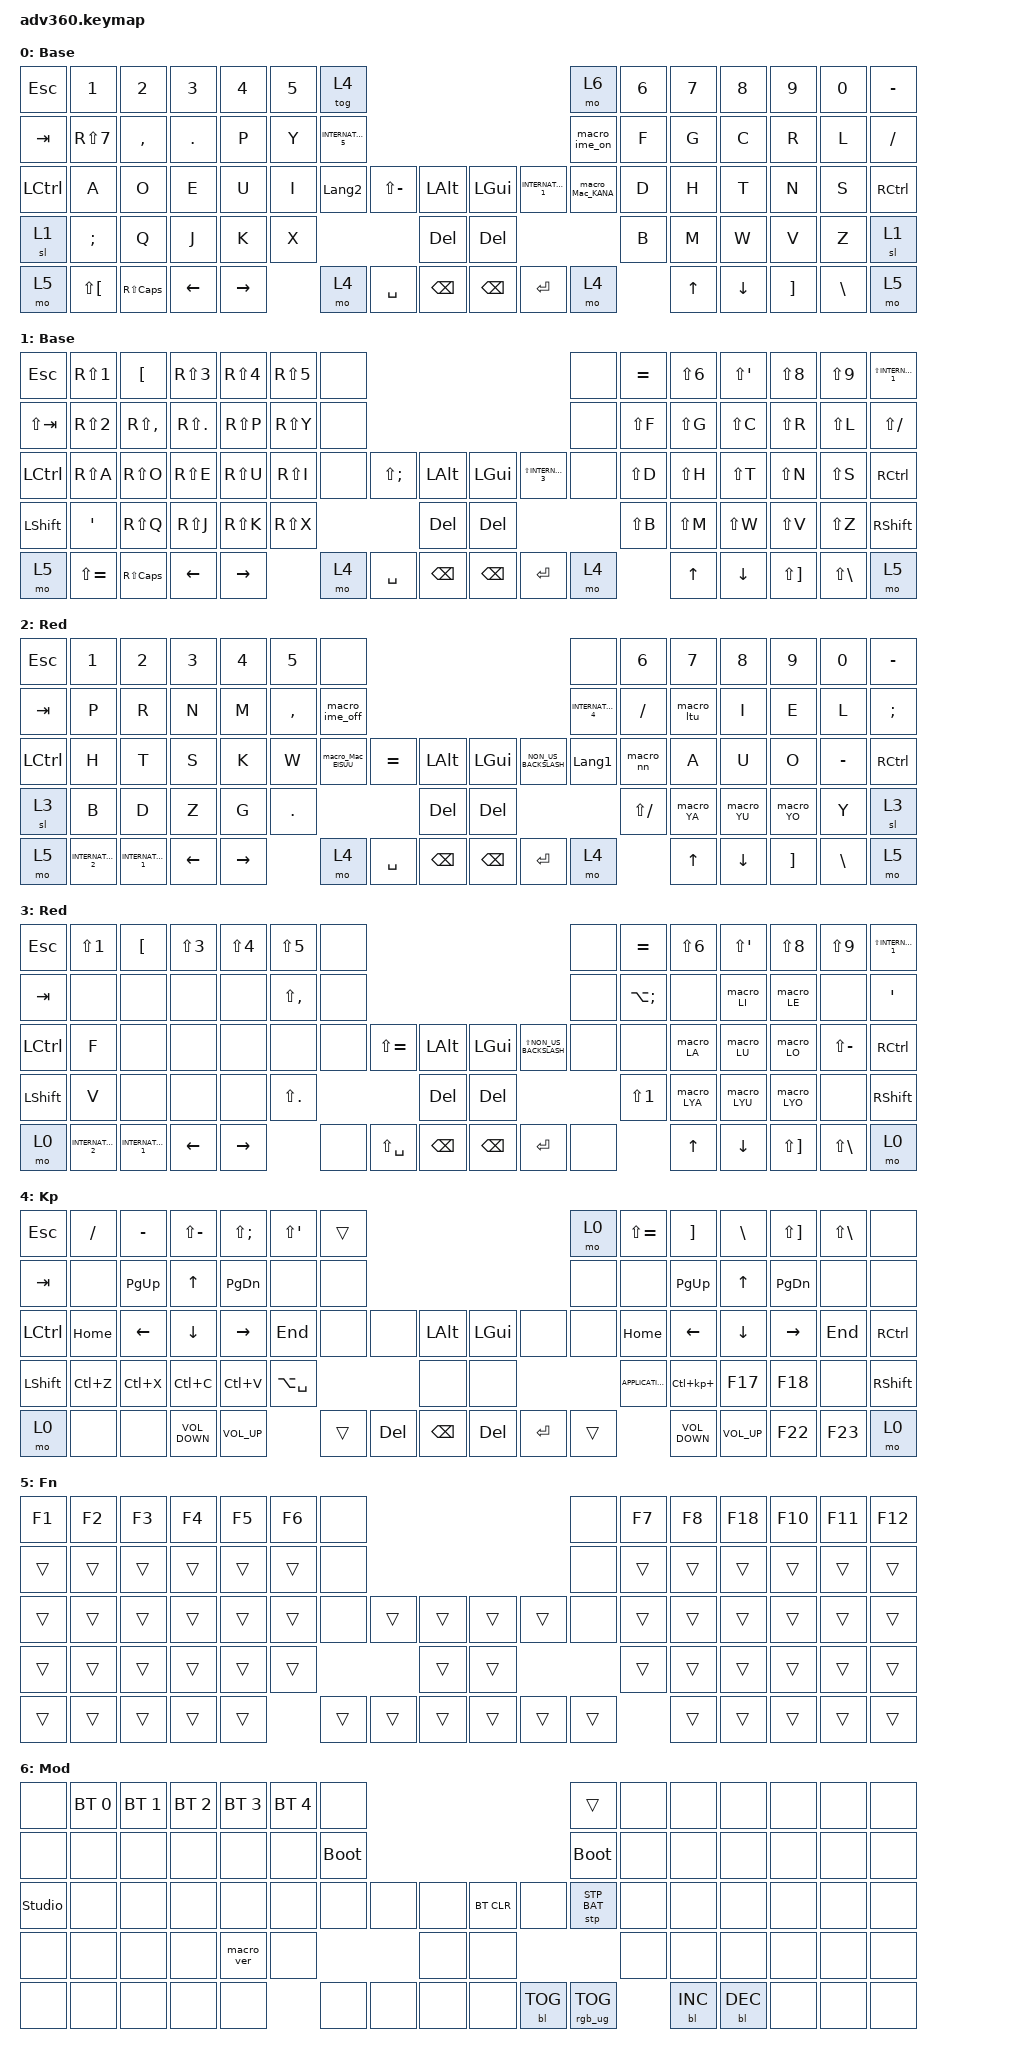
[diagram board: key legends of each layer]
#include <dt-bindings/zmk/stp.h>
#include <behaviors.dtsi>
#include <dt-bindings/zmk/backlight.h>
#include <dt-bindings/zmk/bt.h>
#include <dt-bindings/zmk/keys.h>
#include <dt-bindings/zmk/rgb.h>

/ {
    behaviors {
        #include "macros.dtsi"
      #include "version.dtsi"

        hm: homerow_mods {
            compatible = "zmk,behavior-hold-tap";
            label = "HOMEROW_MODS";
            #binding-cells = <2>;
            tapping-term-ms = <200>;
            quick_tap_ms = <175>;
            flavor = "tap-preferred";
            bindings = <&kp>, <&kp>;
        };

        ja_n2: ja_number_2 {
            compatible = "zmk,behavior-mod-morph";
            #binding-cells = <0>;
            bindings = <&kp N2>, <&kp LBKT>;

            mods = <(MOD_LSFT|MOD_RSFT)>;
        };
    };

    macros {
        macro_ltu: macro_ltu {
            compatible = "zmk,behavior-macro";
            #binding-cells = <0>;
            bindings = <&kp L &kp T &kp U>;
            label = "MACRO_LTU";
            wait-ms = <0>;
        };

        macro_nn: macro_nn {
            compatible = "zmk,behavior-macro";
            #binding-cells = <0>;
            bindings = <&kp N &kp N>;
            label = "MACRO_NN";
        };

        macro_ime_on: macro_ime_on {
            compatible = "zmk,behavior-macro";
            #binding-cells = <0>;
            bindings = <&kp INTERNATIONAL_4 &to 2>;
            label = "MACRO_IME_ON";
        };

        macro_ime_off: macro_ime_off {
            compatible = "zmk,behavior-macro";
            #binding-cells = <0>;
            bindings = <&kp INTERNATIONAL_5 &to 0>;
            label = "MACRO_IME_OFF";
        };

        macro_SANTEN: macro_SANTEN {
            compatible = "zmk,behavior-macro";
            #binding-cells = <0>;
            bindings = <&kp FSLH &kp FSLH &kp FSLH>;
            label = "MACRO_SANTEN";
        };

        macro_YA: macro_YA {
            compatible = "zmk,behavior-macro";
            #binding-cells = <0>;
            bindings = <&kp Y &kp A>;
            label = "MACRO_YA";
            wait-ms = <0>;
        };

        macro_YU: macro_YU {
            compatible = "zmk,behavior-macro";
            #binding-cells = <0>;
            bindings = <&kp Y &kp U>;
            label = "MACRO_YU";
            wait-ms = <0>;
        };

        macro_YO: macro_YO {
            compatible = "zmk,behavior-macro";
            #binding-cells = <0>;
            bindings = <&kp Y &kp O>;
            label = "MACRO_YO";
            wait-ms = <0>;
        };

        macro_LA: macro_LA {
            compatible = "zmk,behavior-macro";
            #binding-cells = <0>;
            bindings = <&kp L &kp A>;
            label = "MACRO_LA";
        };

        macro_LI: macro_LI {
            compatible = "zmk,behavior-macro";
            #binding-cells = <0>;
            bindings = <&kp L &kp I>;
            label = "MACRO_LI";
        };

        macro_LU: macro_LU {
            compatible = "zmk,behavior-macro";
            #binding-cells = <0>;
            bindings = <&kp L &kp U>;
            label = "MACRO_LU";
        };

        macro_LE: macro_LE {
            compatible = "zmk,behavior-macro";
            #binding-cells = <0>;
            bindings = <&kp L &kp E>;
            label = "MACRO_LE";
        };

        macro_LO: macro_LO {
            compatible = "zmk,behavior-macro";
            #binding-cells = <0>;
            bindings = <&kp L &kp O>;
            label = "MACRO_LO";
        };

        macro_LYA: macro_LYA {
            compatible = "zmk,behavior-macro";
            #binding-cells = <0>;
            bindings = <&kp L &kp Y &kp A>;
            label = "MACRO_LYA";
        };

        macro_LYU: macro_LYU {
            compatible = "zmk,behavior-macro";
            #binding-cells = <0>;
            bindings = <&kp L &kp Y &kp U>;
            label = "MACRO_LYU";
        };

        macro_LYO: macro_LYO {
            compatible = "zmk,behavior-macro";
            #binding-cells = <0>;
            bindings = <&kp L &kp Y &kp O>;
            label = "MACRO_LYO";
        };

        macro_Mac_KANA: macro_Mac_KANA {
            compatible = "zmk,behavior-macro";
            #binding-cells = <0>;
            bindings = <&kp LANGUAGE_1 &to 2>;
            label = "MACRO_MAC_KANA";
        };

        macro_Mac_EISUU: macro_Mac_EISUU {
            compatible = "zmk,behavior-macro";
            #binding-cells = <0>;
            bindings = <&kp LANGUAGE_2 &to 0>;
            label = "MACRO_MAC_EISUU";
        };

        macro_SHIFT: macro_SHIFT {
            compatible = "zmk,behavior-macro";
            #binding-cells = <0>;
            bindings = <&kp LEFT_SHIFT &sl 1>;
            label = "MACRO_SHIFT";
        };
    };

    keymap {
        compatible = "zmk,keymap";

        default_layer {
            display-name = "Base";
            bindings = <
&kp ESC           &kp N1                &kp N2        &kp N3      &kp N4     &kp N5  &tog 4                                                                                     &mo 6            &kp N6  &kp N7  &kp N8    &kp N9             &kp N0         &kp MINUS
&kp TAB           &kp RS(N7)            &kp COMMA     &kp PERIOD  &kp P      &kp Y   &kp INTERNATIONAL_5                                                                        &macro_ime_on    &kp F   &kp G   &kp C     &kp R              &kp L          &kp SLASH
&kp LEFT_CONTROL  &kp A                 &kp O         &kp E       &kp U      &kp I   &kp LANGUAGE_2       &kp LS(MINUS)  &kp LALT           &kp LGUI       &kp INTERNATIONAL_1  &macro_Mac_KANA  &kp D   &kp H   &kp T     &kp N              &kp S          &kp RIGHT_CONTROL
&sl 1             &kp SEMICOLON         &kp Q         &kp J       &kp K      &kp X                                       &kp DELETE         &kp DELETE                                           &kp B   &kp M   &kp W     &kp V              &kp Z          &sl 1
&mo 5             &kp LS(LEFT_BRACKET)  &kp RS(CAPS)  &kp LEFT    &kp RIGHT          &mo 4                &kp SPACE      &kp BACKSPACE      &kp BACKSPACE  &kp ENTER            &mo 4                    &kp UP  &kp DOWN  &kp RIGHT_BRACKET  &kp BACKSLASH  &mo 5
            >;
        };

        default_shift_layer {
            display-name = "Base";
            bindings = <
&kp ESC           &kp RS(N1)        &kp LEFT_BRACKET  &kp RS(N3)      &kp RS(N4)  &kp RS(N5)  &none                                                                                &none  &kp EQUAL  &kp LS(NUMBER_6)  &kp LS(SINGLE_QUOTE)  &kp LS(N8)             &kp LS(N9)         &kp LS(INTERNATIONAL_1)
&kp LS(TAB)       &kp RS(N2)        &kp RS(COMMA)     &kp RS(PERIOD)  &kp RS(P)   &kp RS(Y)   &none                                                                                &none  &kp LS(F)  &kp LS(G)         &kp LS(C)             &kp LS(R)              &kp LS(L)          &kp LS(SLASH)
&kp LEFT_CONTROL  &kp RS(A)         &kp RS(O)         &kp RS(E)       &kp RS(U)   &kp RS(I)   &none  &kp LS(SEMICOLON)  &kp LALT           &kp LGUI       &kp LS(INTERNATIONAL_3)  &none  &kp LS(D)  &kp LS(H)         &kp LS(T)             &kp LS(N)              &kp LS(S)          &kp RIGHT_CONTROL
&kp LSHFT         &kp SINGLE_QUOTE  &kp RS(Q)         &kp RS(J)       &kp RS(K)   &kp RS(X)                             &kp DELETE         &kp DELETE                                     &kp LS(B)  &kp LS(M)         &kp LS(W)             &kp LS(V)              &kp LS(Z)          &kp RSHFT
&mo 5             &kp LS(EQUAL)     &kp RS(CAPS)      &kp LEFT        &kp RIGHT               &mo 4  &kp SPACE          &kp BACKSPACE      &kp BACKSPACE  &kp ENTER                &mo 4             &kp UP            &kp DOWN              &kp LS(RIGHT_BRACKET)  &kp LS(BACKSLASH)  &mo 5
            >;
        };

        Japanese {
            display-name = "Red";
            bindings = <
&kp ESC           &kp N1               &kp N2               &kp N3    &kp N4     &kp N5      &none                                                                                &none                &kp N6         &kp N7      &kp N8     &kp N9             &kp N0         &kp MINUS
&kp TAB           &kp P                &kp R                &kp N     &kp M      &kp COMMA   &macro_ime_off                                                                       &kp INTERNATIONAL_4  &kp SLASH      &macro_ltu  &kp I      &kp E              &kp L          &kp SEMICOLON
&kp LEFT_CONTROL  &kp H                &kp T                &kp S     &kp K      &kp W       &macro_Mac_EISUU  &kp EQUAL  &kp LALT           &kp LGUI       &kp NON_US_BACKSLASH  &kp LANGUAGE_1       &macro_nn      &kp A       &kp U      &kp O              &kp MINUS      &kp RIGHT_CONTROL
&sl 3             &kp B                &kp D                &kp Z     &kp G      &kp PERIOD                               &kp DELETE         &kp DELETE                                                &kp LS(SLASH)  &macro_YA   &macro_YU  &macro_YO          &kp Y          &sl 3
&mo 5             &kp INTERNATIONAL_2  &kp INTERNATIONAL_1  &kp LEFT  &kp RIGHT              &mo 4             &kp SPACE  &kp BACKSPACE      &kp BACKSPACE  &kp ENTER             &mo 4                               &kp UP      &kp DOWN   &kp RIGHT_BRACKET  &kp BACKSLASH  &mo 5
            >;
        };

        JAPANESE_Shift {
            display-name = "Red";
            bindings = <
&kp ESC           &kp LS(N1)           &kp LEFT_BRACKET     &kp LS(N3)  &kp LS(N4)  &kp LS(N5)      &none                                                                             &none  &kp EQUAL          &kp LS(NUMBER_6)  &kp LS(APOSTROPHE)  &kp LS(NUMBER_8)       &kp LS(N9)         &kp LS(INTERNATIONAL_1)
&kp TAB           &none                &none                &none       &none       &kp LS(COMMA)   &none                                                                             &none  &kp LA(SEMICOLON)  &none             &macro_LI           &macro_LE              &none              &kp APOS
&kp LEFT_CONTROL  &kp F                &none                &none       &none       &none           &none  &kp LS(EQUAL)  &kp LALT           &kp LGUI       &kp LS(NON_US_BACKSLASH)  &none  &none              &macro_LA         &macro_LU           &macro_LO              &kp LS(MINUS)      &kp RIGHT_CONTROL
&kp LSHFT         &kp V                &none                &none       &none       &kp LS(PERIOD)                        &kp DELETE         &kp DELETE                                      &kp LS(NUMBER_1)   &macro_LYA        &macro_LYU          &macro_LYO             &none              &kp RSHFT
&mo 0             &kp INTERNATIONAL_2  &kp INTERNATIONAL_1  &kp LEFT    &kp RIGHT                   &none  &kp LS(SPACE)  &kp BACKSPACE      &kp BACKSPACE  &kp ENTER                 &none                     &kp UP            &kp DOWN            &kp LS(RIGHT_BRACKET)  &kp LS(BACKSLASH)  &mo 0
            >;
        };

        KEYPAD {
            display-name = "Kp";
            bindings = <
&kp ESCAPE        &kp SLASH  &kp MINUS       &kp LS(MINUS)      &kp LS(SEMICOLON)  &kp LS(APOSTROPHE)  &trans                                                     &mo 0   &kp LS(EQUAL)      &kp RIGHT_BRACKET  &kp BACKSLASH    &kp LS(RIGHT_BRACKET)  &kp LS(BACKSLASH)  &none
&kp TAB           &none      &kp PAGE_UP     &kp UP             &kp PAGE_DOWN      &none               &none                                                      &none   &none              &kp PAGE_UP        &kp UP_ARROW     &kp PAGE_DOWN          &none              &none
&kp LEFT_CONTROL  &kp HOME   &kp LEFT_ARROW  &kp DOWN_ARROW     &kp RIGHT_ARROW    &kp END             &none   &none    &kp LALT           &kp LGUI    &none      &none   &kp HOME           &kp LEFT_ARROW     &kp DOWN_ARROW   &kp RIGHT_ARROW        &kp END            &kp RIGHT_CONTROL
&kp LSHFT         &kp LC(Z)  &kp LC(X)       &kp LC(C)          &kp LC(V)          &kp LA(SPACE)                        &none              &none                          &kp K_APPLICATION  &kp LC(KP_PLUS)    &kp F17          &kp F18                &none              &kp RSHFT
&mo 0             &none      &none           &kp C_VOLUME_DOWN  &kp C_VOLUME_UP                        &trans  &kp DEL  &kp BACKSPACE      &kp DELETE  &kp ENTER  &trans                     &kp C_VOLUME_DOWN  &kp C_VOLUME_UP  &kp F22                &kp F23            &mo 0
            >;
        };

        Fn {
            display-name = "Fn";
            bindings = <
&kp F1  &kp F2  &kp F3  &kp F4  &kp F5  &kp F6  &none                                       &none   &kp F7  &kp F8  &kp F18  &kp F10  &kp F11  &kp F12
&trans  &trans  &trans  &trans  &trans  &trans  &none                                       &none   &trans  &trans  &trans   &trans   &trans   &trans
&trans  &trans  &trans  &trans  &trans  &trans  &none   &trans  &trans      &trans  &trans  &none   &trans  &trans  &trans   &trans   &trans   &trans
&trans  &trans  &trans  &trans  &trans  &trans                  &trans      &trans                  &trans  &trans  &trans   &trans   &trans   &trans
&trans  &trans  &trans  &trans  &trans          &trans  &trans  &trans      &trans  &trans  &trans          &trans  &trans   &trans   &trans   &trans
            >;
        };

        MOD {
            display-name = "Mod";
            bindings = <
&none           &bt BT_SEL 0  &bt BT_SEL 1  &bt BT_SEL 2  &bt BT_SEL 3  &bt BT_SEL 4  &none                                                  &trans           &none  &none       &none       &none  &none  &none
&none           &none         &none         &none         &none         &none         &bootloader                                            &bootloader      &none  &none       &none       &none  &none  &none
&studio_unlock  &none         &none         &none         &none         &none         &none        &none  &none      &bt BT_CLR  &none       &stp STP_BAT     &none  &none       &none       &none  &none  &none
&none           &none         &none         &none         &macro_ver    &none                             &none      &none                                    &none  &none       &none       &none  &none  &none
&none           &none         &none         &none         &none                       &none        &none  &none      &none       &bl BL_TOG  &rgb_ug RGB_TOG         &bl BL_INC  &bl BL_DEC  &none  &none  &none
            >;
        };
    };
};
